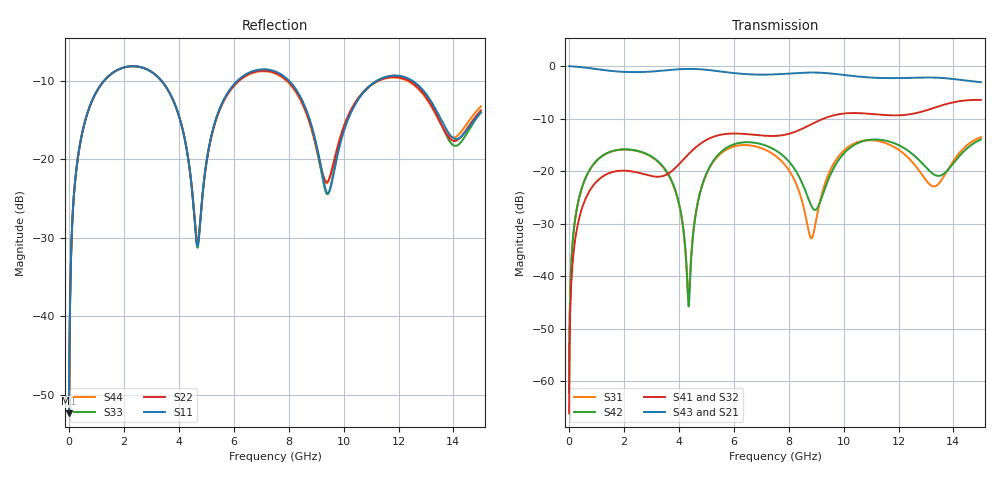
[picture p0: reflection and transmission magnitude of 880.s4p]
! Created with skrf 1.8.0 (http://scikit-rf.org).
# GHz S RI R 50.0
!freq ReS11 ImS11 ReS12 ImS12 ReS13 ImS13
! ReS14 ImS14
! ReS21 ImS21 ReS22 ImS22 ReS23 ImS23
! ReS24 ImS24
! ReS31 ImS31 ReS32 ImS32 ReS33 ImS33
! ReS34 ImS34
! ReS41 ImS41 ReS42 ImS42 ReS43 ImS43
! ReS44 ImS44
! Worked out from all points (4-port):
!   2499 points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, 5 MHz to 15 GHz, reference 50 ohm
!   strongest paths, dB at 5 MHz, 3.476 GHz, 7.19 GHz, 11.1 GHz, 15 GHz:
!     S43: 0.0, -0.8, -1.6, -2.2, -3.1
!     S21: 0.0, -0.8, -1.6, -2.2, -3.0
!     S41: -66.1, -20.8, -13.3, -9.2, -6.4
!     S32: -66.1, -20.9, -13.3, -9.2, -6.4
!     S42: -62.1, -19.5, -15.2, -14.0, -14.0
!     S31: -62.1, -19.6, -16.0, -14.1, -13.5
!   lowest |S11| = -52.4 dB at 5 MHz (marker M1), VSWR 1.00, Z = 50.2 + j0.146 ohm
!   |S11| at or under -10 dB: 3.364 GHz to 6.137 GHz (2.772 GHz wide, 58.4 % of centre); 8.012 GHz to 11.23 GHz (3.217 GHz wide, 33.4 % of centre); 12.5 GHz to end of sweep (the widest 3 of 4)
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0.005  0.00191 0.00145  0.9981 -0.00372  9.77e-05 0.00078  -9.47e-05 -0.000486
       0.9981 -0.00372  0.00191 0.00145  -9.47e-05 -0.000486  9.77e-05 0.00078
       9.77e-05 0.00078  -9.47e-05 -0.000486  0.00191 0.00145  0.9981 -0.00372
       -9.47e-05 -0.000486  9.77e-05 0.00078  0.9981 -0.00372  0.00191 0.00145
0.3126303  0.0313 0.0939  0.9571 -0.23  0.0149 0.0454  -0.0124 -0.0277
           0.9571 -0.23  0.0312 0.0939  -0.0124 -0.0277  0.0151 0.0453
           0.0149 0.0454  -0.0124 -0.0277  0.0313 0.0939  0.9571 -0.23
           -0.0124 -0.0277  0.0151 0.0453  0.9571 -0.23  0.0312 0.0939
1.369321  0.2794 0.1729  0.5287 -0.74  0.1336 0.0616  -0.0934 -0.00264
          0.5287 -0.74  0.2789 0.1733  -0.0933 -0.00269  0.1352 0.0594
          0.1336 0.0616  -0.0933 -0.00269  0.2795 0.1729  0.5287 -0.74
          -0.0934 -0.00264  0.1352 0.0594  0.5287 -0.74  0.2789 0.1733
4.351813  0.0457 -0.0862  -0.8956 -0.2849  -0.00602 -0.000422  -0.0393 0.1395
          -0.8956 -0.2849  0.047 -0.0858  -0.04 0.1393  -0.0051 -0.00105
          -0.00602 -0.000422  -0.04 0.1393  0.0454 -0.0871  -0.8955 -0.2852
          -0.0393 0.1395  -0.0051 -0.00105  -0.8955 -0.2852  0.0478 -0.0864
5.608587  0.1683 0.1628  -0.7447 0.4718  0.1233 0.0903  0.1529 0.1636
          -0.7447 0.4718  0.1652 0.1611  0.152 0.1643  0.135 0.0819
          0.1233 0.0903  0.152 0.1643  0.1667 0.1619  -0.7454 0.4715
          0.1529 0.1636  0.135 0.0819  -0.7454 0.4715  0.1644 0.1592
9.460192  0.0611 0.00249  0.8485 0.0956  0.0141 0.0937  0.0253 -0.3284
          0.8485 0.0956  0.0729 0.0107  0.0281 -0.3282  -0.00183 0.0851
          0.0141 0.0937  0.0281 -0.3282  0.0608 0.00732  0.8487 0.094
          0.0253 -0.3284  -0.00183 0.0851  0.8487 0.094  0.0718 0.0149
15  0.1925 0.0493  -0.6695 0.2208  0.1546 0.143  0.2038 0.4309
    -0.6695 0.2208  0.1942 0.0633  0.1983 0.4358  0.1398 0.1433
    0.1546 0.143  0.1983 0.4358  0.1878 0.0629  -0.6672 0.2228
    0.2038 0.4309  0.1398 0.1433  -0.6672 0.2228  0.206 0.067
